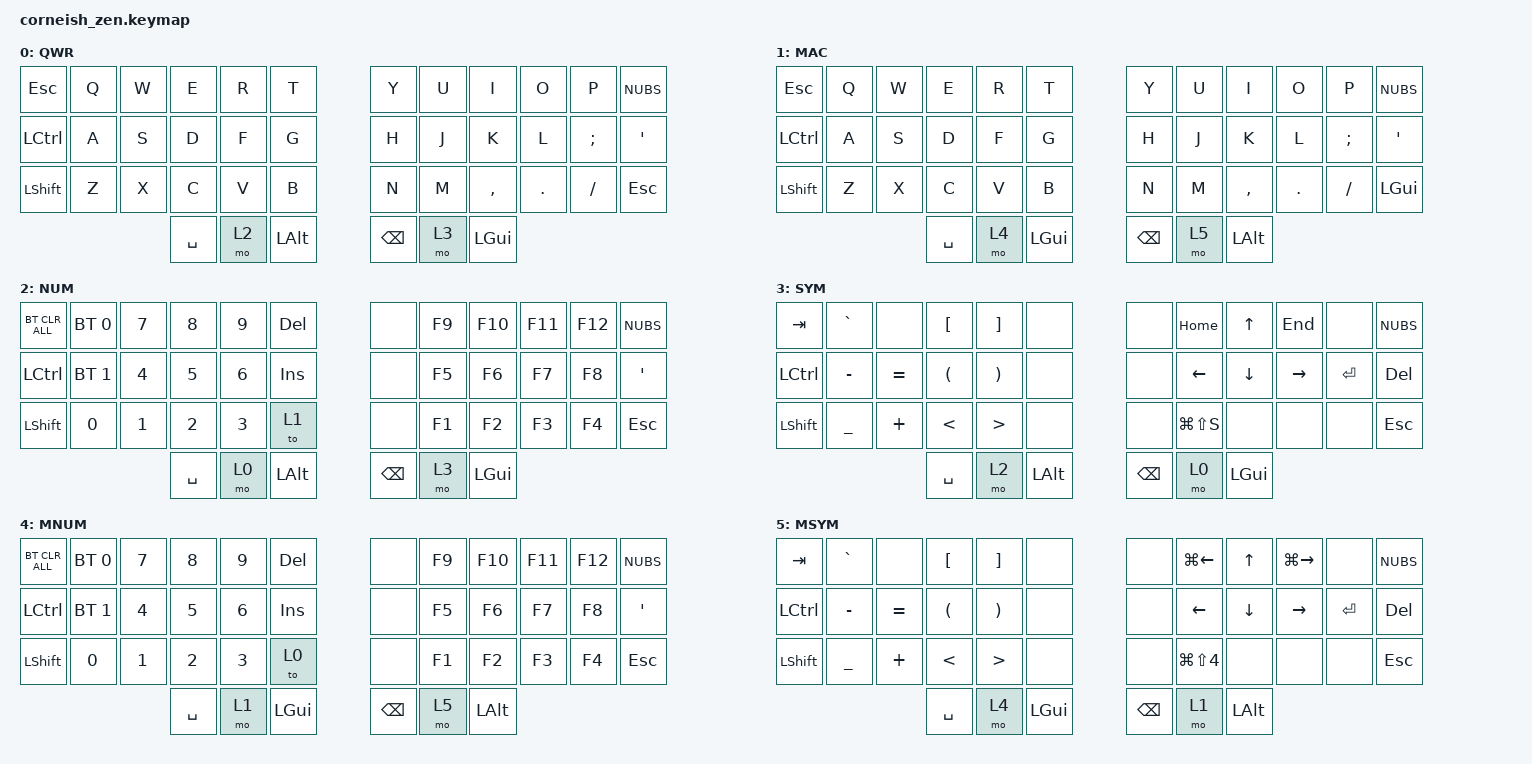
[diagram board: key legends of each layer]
/*
 * Copyright (c) 2020 The ZMK Contributors
 *
 * SPDX-License-Identifier: MIT
 */

#include <behaviors.dtsi>
#include <dt-bindings/zmk/bt.h>
#include <dt-bindings/zmk/ext_power.h>
#include <dt-bindings/zmk/keys.h>
#include <dt-bindings/zmk/outputs.h>
#include <dt-bindings/zmk/rgb.h>

#define M_HOME LG(LEFT)
#define M_END LG(RIGHT)

/ {
    chosen {
        zmk,matrix_transform = &default_transform;
        // zmk,matrix_transform = &five_column_transform;
    };
};

/ {
    keymap {
        compatible = "zmk,keymap";

        QWER {
            display-name = "QWR";
            bindings = <
                &kp ESC           &kp Q            &kp W      &kp E      &kp R      &kp T            &kp Y      &kp U          &kp I      &kp O      &kp P      &kp NUBS
                &kp LCTRL         &kp A            &kp S      &kp D      &kp F      &kp G            &kp H      &kp J          &kp K      &kp L      &kp SEMI   &kp SQT
                &kp LSHFT         &kp Z            &kp X      &kp C      &kp V      &kp B            &kp N      &kp M          &kp COMMA  &kp DOT    &kp FSLH   &kp ESC
                                                              &kp SPACE  &mo 2      &kp LALT         &kp BSPC   &mo 3          &kp LGUI
            >;
        };
        MAC {
            display-name = "MAC";
            bindings = <
                &kp ESC           &kp Q            &kp W      &kp E      &kp R      &kp T            &kp Y      &kp U          &kp I      &kp O      &kp P      &kp NUBS
                &kp LCTRL         &kp A            &kp S      &kp D      &kp F      &kp G            &kp H      &kp J          &kp K      &kp L      &kp SEMI   &kp SQT
                &kp LSHFT         &kp Z            &kp X      &kp C      &kp V      &kp B            &kp N      &kp M          &kp COMMA  &kp DOT    &kp FSLH   &kp LGUI
                                                              &kp SPACE  &mo 4      &kp LGUI         &kp BSPC   &mo 5          &kp LALT
            >;
        };
        NUM {
            display-name = "NUM";
            bindings = <
                &bt BT_CLR_ALL    &bt BT_SEL 0     &kp N7     &kp N8     &kp N9     &kp DEL          &none      &kp F9         &kp F10    &kp F11    &kp F12    &kp NUBS
                &kp LCTRL         &bt BT_SEL 1     &kp N4     &kp N5     &kp N6     &kp INS          &none      &kp F5         &kp F6     &kp F7     &kp F8     &kp SQT
                &kp LSHFT         &kp N0           &kp N1     &kp N2     &kp N3     &to 1            &none      &kp F1         &kp F2     &kp F3     &kp F4     &kp ESC
                                                              &kp SPACE  &mo 0      &kp LALT         &kp BSPC   &mo 3          &kp LGUI
            >;
        };
        SYM {
            display-name = "SYM";
            bindings = <
                &kp TAB           &kp GRAVE        &none      &kp LBKT   &kp RBKT   &none            &none      &kp HOME       &kp UP     &kp END    &none     &kp NUBS
                &kp LCTRL         &kp MINUS        &kp EQUAL  &kp LPAR   &kp RPAR   &none            &none      &kp LEFT       &kp DOWN   &kp RIGHT  &kp RET   &kp DEL
                &kp LSHFT         &kp UNDER        &kp PLUS   &kp LT     &kp GT     &none            &none      &kp LG(LS(S))  &none      &none      &none     &kp ESC
                                                              &kp SPACE  &mo 2      &kp LALT         &kp BSPC   &mo 0          &kp LGUI
            >;
        };
        MNUM {
            display-name = "MNUM";
            bindings = <
                &bt BT_CLR_ALL    &bt BT_SEL 0     &kp N7     &kp N8     &kp N9     &kp DEL          &none      &kp F9         &kp F10    &kp F11    &kp F12    &kp NUBS
                &kp LCTRL         &bt BT_SEL 1     &kp N4     &kp N5     &kp N6     &kp INS          &none      &kp F5         &kp F6     &kp F7     &kp F8     &kp SQT
                &kp LSHFT         &kp N0           &kp N1     &kp N2     &kp N3     &to 0            &none      &kp F1         &kp F2     &kp F3     &kp F4     &kp ESC
                                                              &kp SPACE  &mo 1      &kp LGUI         &kp BSPC   &mo 5          &kp LALT
            >;
        };
        MSYM {
            display-name = "MSYM";
            bindings = <
                &kp TAB           &kp GRAVE        &none      &kp LBKT   &kp RBKT   &none            &none      &kp M_HOME     &kp UP     &kp M_END  &none     &kp NUBS
                &kp LCTRL         &kp MINUS        &kp EQUAL  &kp LPAR   &kp RPAR   &none            &none      &kp LEFT       &kp DOWN   &kp RIGHT  &kp RET   &kp DEL
                &kp LSHFT         &kp UNDER        &kp PLUS   &kp LT     &kp GT     &none            &none      &kp LG(LS(4))  &none      &none      &none     &kp ESC
                                                              &kp SPACE  &mo 4      &kp LGUI         &kp BSPC   &mo 1          &kp LALT
            >;
        };
    };
};
